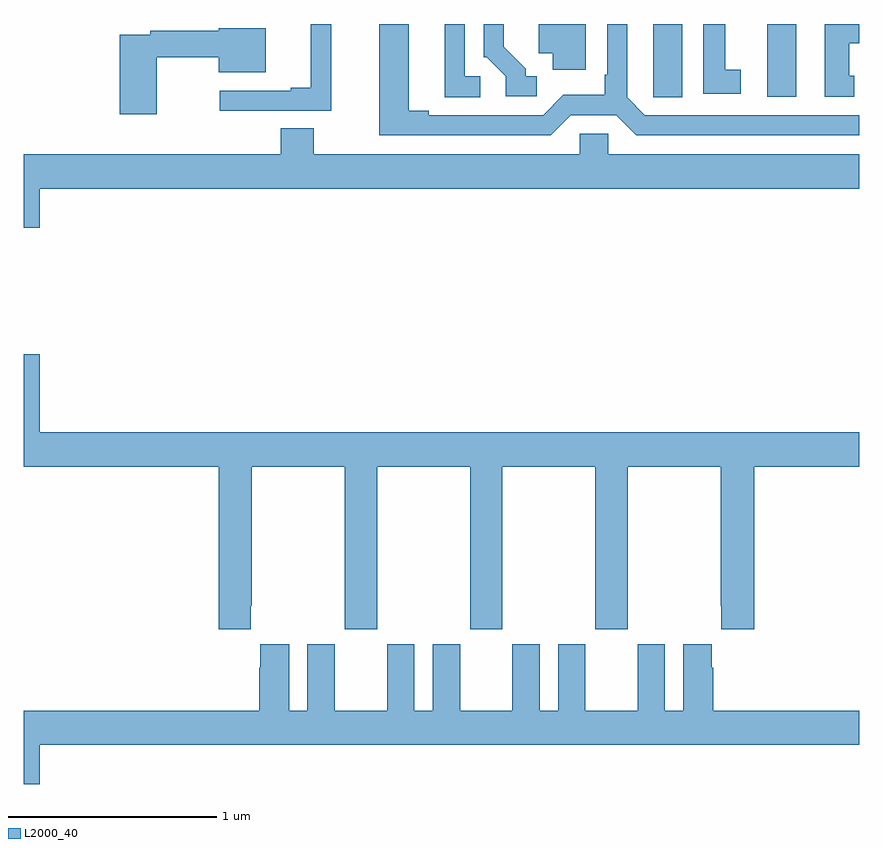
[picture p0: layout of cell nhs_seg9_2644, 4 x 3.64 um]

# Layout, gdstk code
import gdstk
lib = gdstk.Library(unit=1e-6, precision=1e-09)
def R(c, l, rs):  # rectangles x0, y0, x1, y1
    for r in rs: c.add(gdstk.rectangle(r[:2], r[2:], *l))
def P(c, l, *ps):  # polygons
    for p in ps: c.add(gdstk.Polygon(p, *l))
L2000_40 = (2000, 40)

nhs_seg9_2644 = lib.new_cell('nhs_seg9_2644')
R(nhs_seg9_2644, L2000_40, [(264.56,1238.151,264.7,1238.5)])
P(nhs_seg9_2644, L2000_40, [(263.692,1238.5),(263.465,1238.5),(263.465,1238.36),(263.534,1238.36),(263.534,1238.28),(263.692,1238.28)],
  [(263.619,1238.064),(263.837,1238.064),(263.933,1237.968),(265,1237.968),(265,1238.064),(263.973,1238.064),(263.889,1238.148),(263.889,1238.5),(263.793,1238.5),(263.793,1238.257),(263.781,1238.257),(263.781,1238.16),(263.583,1238.16),(263.487,1238.064),(262.939,1238.064),(262.939,1238.084),(262.843,1238.084),(262.843,1238.5),(262.703,1238.5),(262.703,1237.968),(263.523,1237.968)],
  [(262.473,1238.5),(262.373,1238.5),(262.373,1238.194),(262.277,1238.194),(262.277,1238.181),(261.939,1238.181),(261.939,1238.085),(262.473,1238.085)],
  [(263.185,1238.25),(263.112,1238.25),(263.112,1238.5),(263.015,1238.5),(263.015,1238.149),(263.185,1238.149)],
  [(264.976,1238.253),(264.952,1238.253),(264.952,1238.408),(265,1238.408),(265,1238.5),(264.836,1238.5),(264.836,1238.151),(264.976,1238.151)],
  [(263.455,1238.25),(263.404,1238.25),(263.404,1238.285),(263.299,1238.39),(263.299,1238.5),(263.202,1238.5),(263.202,1238.34),(263.217,1238.34),(263.307,1238.25),(263.307,1238.154),(263.455,1238.154)],
  [(264.433,1238.282),(264.358,1238.282),(264.358,1238.5),(264.254,1238.5),(264.254,1238.166),(264.433,1238.166)],
  [(264.154,1238.5),(264.014,1238.5),(264.014,1238.257),(264.015,1238.257),(264.015,1238.149),(264.154,1238.149)],
  [(261.636,1238.34),(261.932,1238.34),(261.932,1238.27),(262.159,1238.27),(262.159,1238.479),(261.932,1238.479),(261.932,1238.468),(261.604,1238.468),(261.604,1238.448),(261.458,1238.448),(261.458,1238.067),(261.636,1238.067)],
  [(261.076,1237.712),(265,1237.712),(265,1237.876),(263.799,1237.876),(263.799,1237.974),(263.661,1237.974),(263.661,1237.876),(262.389,1237.876),(262.389,1238),(262.229,1238),(262.229,1237.876),(261,1237.876),(261,1237.524),(261.076,1237.524)],
  [(262.087,1235.713),(262.092,1235.713),(262.092,1236.38),(262.537,1236.38),(262.537,1235.601),(262.692,1235.601),(262.692,1236.38),(263.137,1236.38),(263.137,1235.601),(263.292,1235.601),(263.292,1236.38),(263.737,1236.38),(263.737,1235.601),(263.892,1235.601),(263.892,1236.38),(264.337,1236.38),(264.337,1235.713),(264.341,1235.713),(264.341,1235.601),(264.497,1235.601),(264.497,1236.38),(265,1236.38),(265,1236.544),(261.076,1236.544),(261.076,1236.919),(261,1236.919),(261,1236.38),(261.932,1236.38),(261.932,1235.601),(262.087,1235.601)],
  [(261.076,1235.048),(265,1235.048),(265,1235.212),(264.302,1235.212),(264.302,1235.417),(264.295,1235.417),(264.295,1235.53),(264.158,1235.53),(264.158,1235.212),(264.07,1235.212),(264.07,1235.53),(263.939,1235.53),(263.939,1235.212),(263.689,1235.212),(263.689,1235.53),(263.558,1235.53),(263.558,1235.212),(263.47,1235.212),(263.47,1235.53),(263.339,1235.53),(263.339,1235.212),(263.089,1235.212),(263.089,1235.53),(262.958,1235.53),(262.958,1235.212),(262.87,1235.212),(262.87,1235.53),(262.739,1235.53),(262.739,1235.212),(262.489,1235.212),(262.489,1235.53),(262.358,1235.53),(262.358,1235.212),(262.27,1235.212),(262.27,1235.53),(262.133,1235.53),(262.133,1235.417),(262.127,1235.417),(262.127,1235.212),(261,1235.212),(261,1234.86),(261.076,1234.86)])

lib.write_gds('nhs_seg9_2644.gds')
